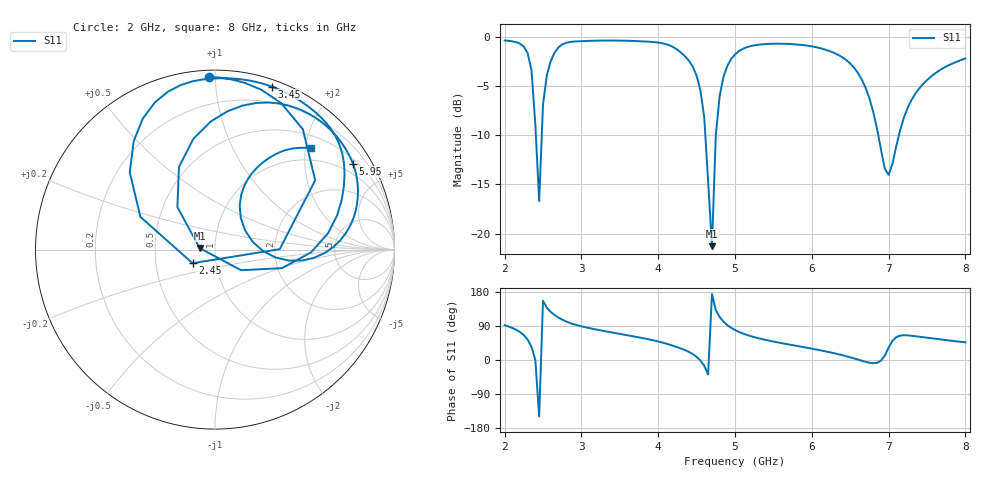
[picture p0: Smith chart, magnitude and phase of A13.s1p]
! Generated by Hertzon (EMerge FEM)
# HZ S RI R 50
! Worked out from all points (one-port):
!   121 points, 2 GHz to 8 GHz, reference 50 ohm
!   lowest |S11| = -21.3 dB at 4.7 GHz (marker M1), VSWR 1.19, Z = 42.1 + j0.749 ohm
!   |S11| at or under -10 dB: 2.407 GHz to 2.484 GHz (76.78 MHz wide, 3.14 % of centre); 4.614 GHz to 4.75 GHz (136.2 MHz wide, 2.91 % of centre); 6.866 GHz to 7.134 GHz (267.9 MHz wide, 3.83 % of centre)
!   S11 on the Smith chart (normalised r, x): 2 GHz: 0.04, +0.97; 2.45 GHz: 0.77, -0.12; 3.45 GHz: 0.06, +1.41; 5.95 GHz: 0.64, +3.39; 8 GHz: 0.73, +2.11
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2e9  -0.0317 0.9622
2.25e9  0.3682 0.8168
2.35e9  0.5583 0.3862
2.4e9  0.3605 0.00241
2.45e9  -0.1253 -0.0758
2.5e9  -0.4154 0.1822
2.55e9  -0.4748 0.4298
2.75e9  -0.2603 0.8811
3.45e9  0.3179 0.9075
3.5e9  0.3465 0.8965
3.95e9  0.5903 0.7369
4.25e9  0.719 0.4783
4.45e9  0.6807 0.1913
4.55e9  0.5356 -0.015
4.6e9  0.374 -0.1033
4.7e9  -0.0858 0.00883
4.75e9  -0.2096 0.2368
4.8e9  -0.2007 0.4601
4.9e9  -0.0239 0.7135
5e9  0.1539 0.8023
5.3e9  0.4894 0.7733
5.75e9  0.7138 0.5826
5.95e9  0.7689 0.4775
6.5e9  0.729 0.0912
6.8e9  0.4122 -0.0612
7e9  0.1679 0.1066
7.25e9  0.1857 0.3974
8e9  0.535 0.5663
